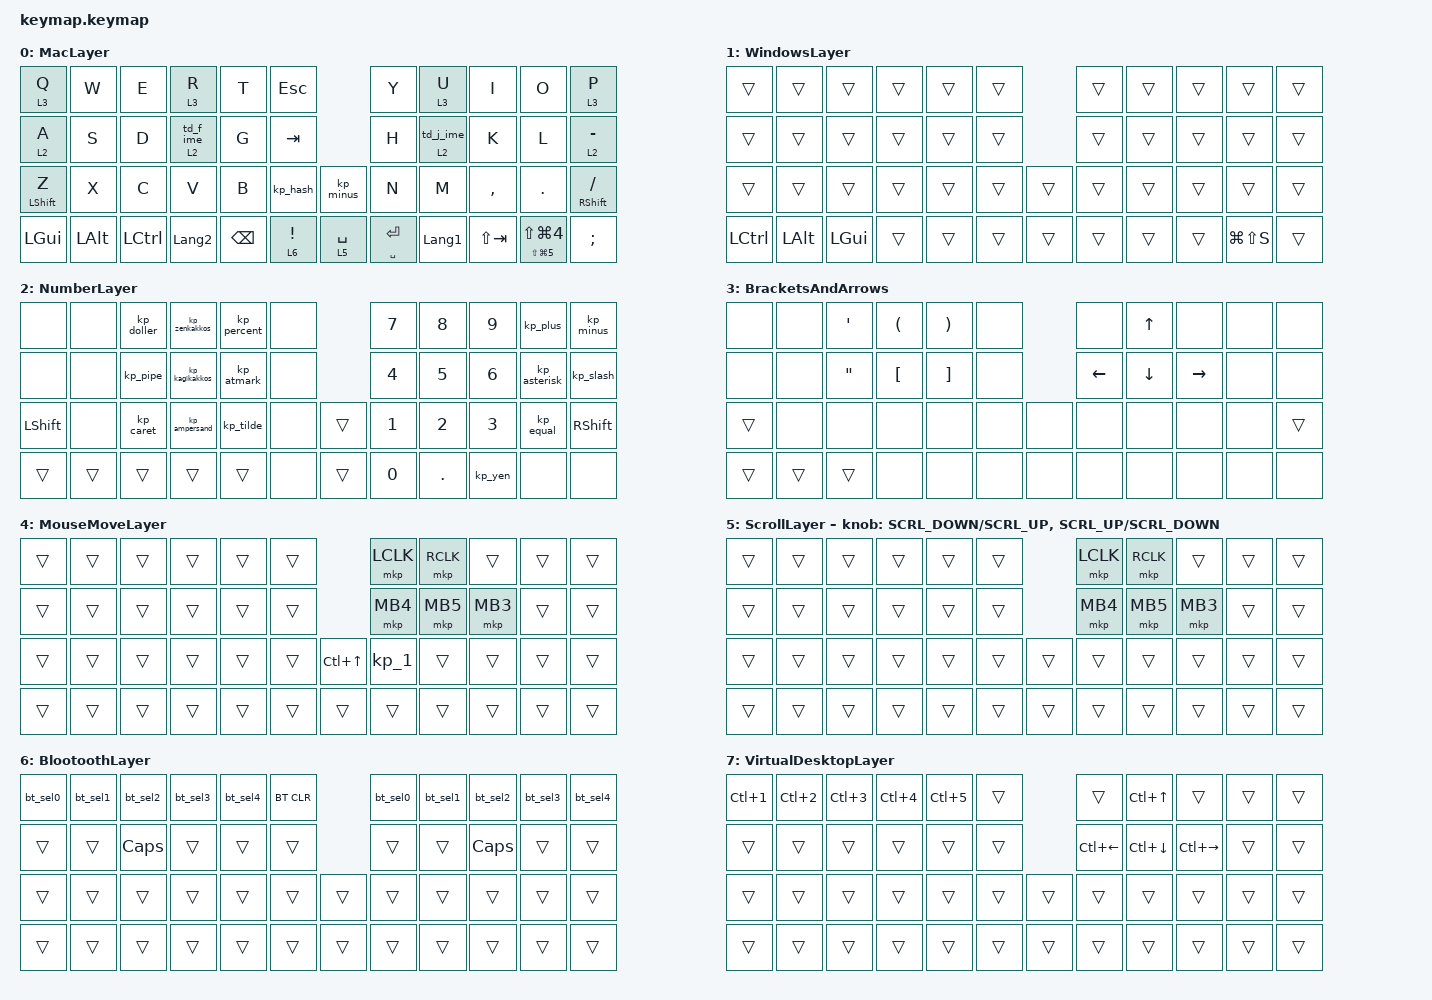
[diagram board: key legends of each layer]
#include <behaviors.dtsi>
#include <dt-bindings/zmk/bt.h>
#include <dt-bindings/zmk/keys.h>
#include <dt-bindings/zmk/pointing.h>

&mmv {
    trigger-period-ms = <10>;
    delay-ms = <0>;
    time-to-max-speed-ms = <0>;
    acceleration-exponent = <2>;
};

&msc {
    trigger-period-ms = <10>;
    delay-ms = <0>;
    time-to-max-speed-ms = <0>;
    acceleration-exponent = <0>;
};

&mt { flavor = "balanced"; };

&lt { flavor = "balanced"; };

/ {
    input_processors {
        // 垂直スクロールのスケーラー

        zip_wheel_scaler: zip_wheel_scaler {
            compatible = "zmk,input-processor-scaler";
            #input-processor-cells = <2>;
            type = <INPUT_EV_REL>;
            codes = <INPUT_REL_WHEEL>;
            track-remainders;
        };

        // 水平スクロールのスケーラー

        zip_hwheel_scaler: zip_hwheel_scaler {
            compatible = "zmk,input-processor-scaler";
            #input-processor-cells = <2>;
            type = <INPUT_EV_REL>;
            codes = <INPUT_REL_HWHEEL>;
            track-remainders;
        };
    };
};

/ {
    macros {
        bt_sel0: bt_sel0 {
            compatible = "zmk,behavior-macro";
            #binding-cells = <0>;
            bindings = <&bt BT_SEL 0 &to 1>;
            label = "BT_SEL0";
        };

        bt_sel1: bt_sel1 {
            compatible = "zmk,behavior-macro";
            #binding-cells = <0>;
            bindings = <&bt BT_SEL 1 &to 0>;
            label = "BT_SEL1";
        };

        bt_sel2: bt_sel2 {
            compatible = "zmk,behavior-macro";
            #binding-cells = <0>;
            bindings = <&bt BT_SEL 2 &to 1>;
            label = "BT_SEL2";
        };

        bt_sel3: bt_sel3 {
            compatible = "zmk,behavior-macro";
            #binding-cells = <0>;
            bindings = <&bt BT_SEL 3 &to 1>;
            label = "BT_SEL3";
        };

        bt_sel4: bt_sel4 {
            compatible = "zmk,behavior-macro";
            #binding-cells = <0>;
            bindings = <&bt BT_SEL 4 &to 1>;
            label = "BT_SEL4";
        };

        kp_atmark: kp_atmark {
            compatible = "zmk,behavior-macro";
            #binding-cells = <0>;
            bindings = <&kp LANGUAGE_2 &kp AT_SIGN>;
            label = "KP_ATMARK";
        };

        kp_tilde: kp_tilde {
            compatible = "zmk,behavior-macro";
            #binding-cells = <0>;
            bindings = <&kp LANGUAGE_2 &kp TILDE>;
            label = "KP_TILDE";
        };

        kp_yen: kp_yen {
            compatible = "zmk,behavior-macro";
            #binding-cells = <0>;
            bindings = <&kp LANGUAGE_2 &kp INT_YEN>;
            label = "KP_YEN";
        };

        kp_ampersand: kp_ampersand {
            compatible = "zmk,behavior-macro";
            #binding-cells = <0>;
            bindings = <&kp LANGUAGE_2 &kp AMPERSAND>;
            label = "KP_AMPERSAND";
        };

        kp_slash: kp_slash {
            compatible = "zmk,behavior-macro";
            #binding-cells = <0>;
            bindings = <&kp LANGUAGE_2 &kp SLASH>;
            label = "KP_SLASH";
        };

        kp_asterisk: kp_asterisk {
            compatible = "zmk,behavior-macro";
            #binding-cells = <0>;
            bindings = <&kp LANGUAGE_2 &kp ASTERISK>;
            label = "KP_ASTERISK";
        };

        kp_minus: kp_minus {
            compatible = "zmk,behavior-macro";
            #binding-cells = <0>;
            bindings = <&kp LANGUAGE_2 &kp MINUS>;
            label = "KP_MINUS";
        };

        kp_plus: kp_plus {
            compatible = "zmk,behavior-macro";
            #binding-cells = <0>;
            bindings = <&kp LANGUAGE_2 &kp PLUS>;
            label = "KP_PLUS";
        };

        kp_hash: kp_hash {
            compatible = "zmk,behavior-macro";
            #binding-cells = <0>;
            bindings = <&kp LANGUAGE_2 &kp HASH>;
            label = "KP_HASH";
        };

        kp_equal: kp_equal {
            compatible = "zmk,behavior-macro";
            #binding-cells = <0>;
            bindings = <&kp LANGUAGE_2 &kp EQUAL>;
            label = "KP_EQUAL";
        };

        kp_percent: kp_percent {
            compatible = "zmk,behavior-macro";
            #binding-cells = <0>;
            bindings = <&kp LANGUAGE_2 &kp PERCENT>;
            label = "KP_PERCENT";
        };

        kp_doller: kp_doller {
            compatible = "zmk,behavior-macro";
            #binding-cells = <0>;
            bindings = <&kp LANGUAGE_2 &kp DOLLAR>;
            label = "KP_DOLLER";
        };

        kp_caret: kp_caret {
            compatible = "zmk,behavior-macro";
            #binding-cells = <0>;
            bindings = <&kp LANGUAGE_2 &kp CARET>;
            label = "KP_CARET";
        };

        kp_pipe: kp_pipe {
            compatible = "zmk,behavior-macro";
            #binding-cells = <0>;
            bindings = <&kp LANGUAGE_2 &kp PIPE>;
            label = "KP_PIPE";
        };

        kp_zenkakkos: kp_zenkakkos {
            compatible = "zmk,behavior-macro";
            #binding-cells = <0>;
            bindings = <&kp LANGUAGE_1 &kp LEFT_PARENTHESIS &kp RIGHT_PARENTHESIS &kp ENTER &kp LEFT_ARROW>;
            label = "KP_ZENKAKKOS";
        };

        kp_kagikakkos: kp_kagikakkos {
            compatible = "zmk,behavior-macro";
            #binding-cells = <0>;
            bindings = <&kp LANGUAGE_1 &kp LEFT_BRACKET &kp RIGHT_BRACKET &kp ENTER &kp LEFT_ARROW>;
            label = "KP_KAGIKAKKOS";
        };

        kp_1: kp_1 {
            compatible = "zmk,behavior-macro";
            #binding-cells = <0>;
            bindings = <&kp NUMBER_1 &kp ENTER>;
            label = "KP_1";
        };

        kp_2: kp_2 {
            compatible = "zmk,behavior-macro";
            #binding-cells = <0>;
            bindings = <&kp NUMBER_2 &kp ENTER>;
            label = "KP_2";
        };

        kp_3: kp_3 {
            compatible = "zmk,behavior-macro";
            #binding-cells = <0>;
            bindings = <&kp NUMBER_3 &kp ENTER>;
            label = "KP_3";
        };
    };

    combos {
        compatible = "zmk,combos";

        BluetoothLeyer {
            bindings = <&mo 6>;
            key-positions = <40 28>;
        };

        VirtualDesktop {
            bindings = <&mo 7>;
            key-positions = <38 5>;
        };
    };

    behaviors {
        mouse_mv: mouse_cursor_move {
            compatible = "zmk,behavior-sensor-rotate-var";
            #sensor-binding-cells = <2>;
            bindings = <&mmv>, <&mmv>;

            tap-ms = <10>;
        };

        mouse_scrl: mouse_wheel_scrl {
            compatible = "zmk,behavior-sensor-rotate-var";
            #sensor-binding-cells = <2>;
            bindings = <&msc>, <&msc>;

            tap-ms = <10>;
        };

        td_f_ime: tap_dance_f_ime {
            compatible = "zmk,behavior-tap-dance";
            #binding-cells = <0>;
            tapping-term-ms = <200>;
            bindings = <&kp F>, <&kp LANGUAGE_2>;
        };

        td_j_ime: tap_dance_j_ime {
            compatible = "zmk,behavior-tap-dance";
            #binding-cells = <0>;
            tapping-term-ms = <200>;
            bindings = <&kp J>, <&kp LANGUAGE_1>;
        };

        ltd_f: hold_tap_layer_td_f {
            compatible = "zmk,behavior-hold-tap";
            #binding-cells = <2>;
            flavor = "balanced";
            tapping-term-ms = <200>;
            bindings = <&mo>, <&td_f_ime>;
        };

        ltd_j: hold_tap_layer_td_j {
            compatible = "zmk,behavior-hold-tap";
            #binding-cells = <2>;
            flavor = "balanced";
            tapping-term-ms = <200>;
            bindings = <&mo>, <&td_j_ime>;
        };
    };

    keymap {
        compatible = "zmk,keymap";

        MacLayer {
            bindings = <
&lt 3 Q           &kp W     &kp E      &lt 3 R         &kp T     &kp ESCAPE                      &kp Y            &lt 3 U         &kp I        &kp O                                  &lt 3 P
&lt 2 A           &kp S     &kp D      &ltd_f 2 0      &kp G     &kp TAB                         &kp H            &ltd_j 2 0      &kp K        &kp L                                  &lt 2 MINUS
&mt LEFT_SHIFT Z  &kp X     &kp C      &kp V           &kp B     &kp_hash           &kp_minus    &kp N            &kp M           &kp COMMA    &kp DOT                                &mt RIGHT_SHIFT SLASH
&kp LGUI          &kp LALT  &kp LCTRL  &kp LANGUAGE_2  &kp BSPC  &lt 6 EXCLAMATION  &lt 5 SPACE  &mt SPACE ENTER  &kp LANGUAGE_1  &kp LS(TAB)  &mt LS(LG(NUMBER_5)) LS(LG(NUMBER_4))  &kp SEMICOLON
            >;
        };

        WindowsLayer {
            bindings = <
&trans     &trans        &trans        &trans  &trans  &trans          &trans  &trans  &trans  &trans         &trans
&trans     &trans        &trans        &trans  &trans  &trans          &trans  &trans  &trans  &trans         &trans
&trans     &trans        &trans        &trans  &trans  &trans  &trans  &trans  &trans  &trans  &trans         &trans
&kp LCTRL  &kp LEFT_ALT  &kp LEFT_GUI  &trans  &trans  &trans  &trans  &trans  &trans  &trans  &kp LG(LS(S))  &trans
            >;
        };

        NumberLayer {
            bindings = <
&none           &none   &kp_doller  &kp_zenkakkos   &kp_percent  &none          &kp N7  &kp N8   &kp N9   &kp_plus      &kp_minus
&none           &none   &kp_pipe    &kp_kagikakkos  &kp_atmark   &none          &kp N4  &kp N5   &kp N6   &kp_asterisk  &kp_slash
&kp LEFT_SHIFT  &none   &kp_caret   &kp_ampersand   &kp_tilde    &none  &trans  &kp N1  &kp N2   &kp N3   &kp_equal     &kp RIGHT_SHIFT
&trans          &trans  &trans      &trans          &trans       &none  &trans  &kp N0  &kp DOT  &kp_yen  &none         &none
            >;
        };

        BracketsAndArrows {
            bindings = <
&none   &none   &kp SINGLE_QUOTE   &kp LEFT_PARENTHESIS  &kp RIGHT_PARENTHESIS  &none         &none           &kp UP_ARROW    &none            &none  &none
&none   &none   &kp DOUBLE_QUOTES  &kp LEFT_BRACKET      &kp RIGHT_BRACKET      &none         &kp LEFT_ARROW  &kp DOWN_ARROW  &kp RIGHT_ARROW  &none  &none
&trans  &none   &none              &none                 &none                  &none  &none  &none           &none           &none            &none  &trans
&trans  &trans  &trans             &none                 &none                  &none  &none  &none           &none           &none            &none  &none
            >;
        };

        MouseMoveLayer {
            bindings = <
&trans  &trans  &trans  &trans  &trans  &trans                    &mkp LCLK  &mkp RCLK  &trans    &trans  &trans
&trans  &trans  &trans  &trans  &trans  &trans                    &mkp MB4   &mkp MB5   &mkp MB3  &trans  &trans
&trans  &trans  &trans  &trans  &trans  &trans  &kp LC(UP_ARROW)  &kp_1      &trans     &trans    &trans  &trans
&trans  &trans  &trans  &trans  &trans  &trans  &trans            &trans     &trans     &trans    &trans  &trans
            >;
        };

        ScrollLayer {
            bindings = <
&trans  &trans  &trans  &trans  &trans  &trans          &mkp LCLK  &mkp RCLK  &trans    &trans  &trans
&trans  &trans  &trans  &trans  &trans  &trans          &mkp MB4   &mkp MB5   &mkp MB3  &trans  &trans
&trans  &trans  &trans  &trans  &trans  &trans  &trans  &trans     &trans     &trans    &trans  &trans
&trans  &trans  &trans  &trans  &trans  &trans  &trans  &trans     &trans     &trans    &trans  &trans
            >;

            // トラックボールの動きをスクロールに変換

            sensor-bindings =
                <&mouse_scrl SCRL_DOWN SCRL_UP>,
                <&mouse_scrl SCRL_UP SCRL_DOWN>;
        };

        BlootoothLayer {
            bindings = <
&bt_sel0  &bt_sel1  &bt_sel2      &bt_sel3  &bt_sel4  &bt BT_CLR          &bt_sel0  &bt_sel1  &bt_sel2      &bt_sel3  &bt_sel4
&trans    &trans    &kp CAPSLOCK  &trans    &trans    &trans              &trans    &trans    &kp CAPSLOCK  &trans    &trans
&trans    &trans    &trans        &trans    &trans    &trans      &trans  &trans    &trans    &trans        &trans    &trans
&trans    &trans    &trans        &trans    &trans    &trans      &trans  &trans    &trans    &trans        &trans    &trans
            >;
        };

        VirtualDesktopLayer {
            bindings = <
&kp LC(N1)  &kp LC(N2)  &kp LC(N3)  &kp LC(N4)  &kp LC(N5)  &trans          &trans  &kp LC(UP_ARROW)    &trans  &trans  &trans
&trans      &trans      &trans      &trans      &trans      &trans          &kp LC(LEFT_ARROW)  &kp LC(DOWN_ARROW)  &kp LC(RIGHT_ARROW)  &trans  &trans
&trans      &trans      &trans      &trans      &trans      &trans  &trans  &trans  &trans  &trans  &trans  &trans
&trans      &trans      &trans      &trans      &trans      &trans  &trans  &trans  &trans  &trans  &trans  &trans
            >;
        };
    };
};
